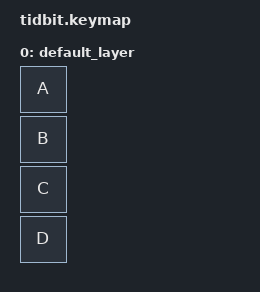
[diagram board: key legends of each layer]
/*
 * Copyright (c) 2020 The ZMK Contributors
 *
 * SPDX-License-Identifier: MIT
 */

#include <behaviors.dtsi>
#include <dt-bindings/zmk/outputs.h>
#include <dt-bindings/zmk/keys.h>


/  {
    keymap {
        compatible = "zmk,keymap";

        default_layer {
            bindings = <
                &kp A
                &kp B
                &kp C
                &kp D
            >;
        };

    };
};
